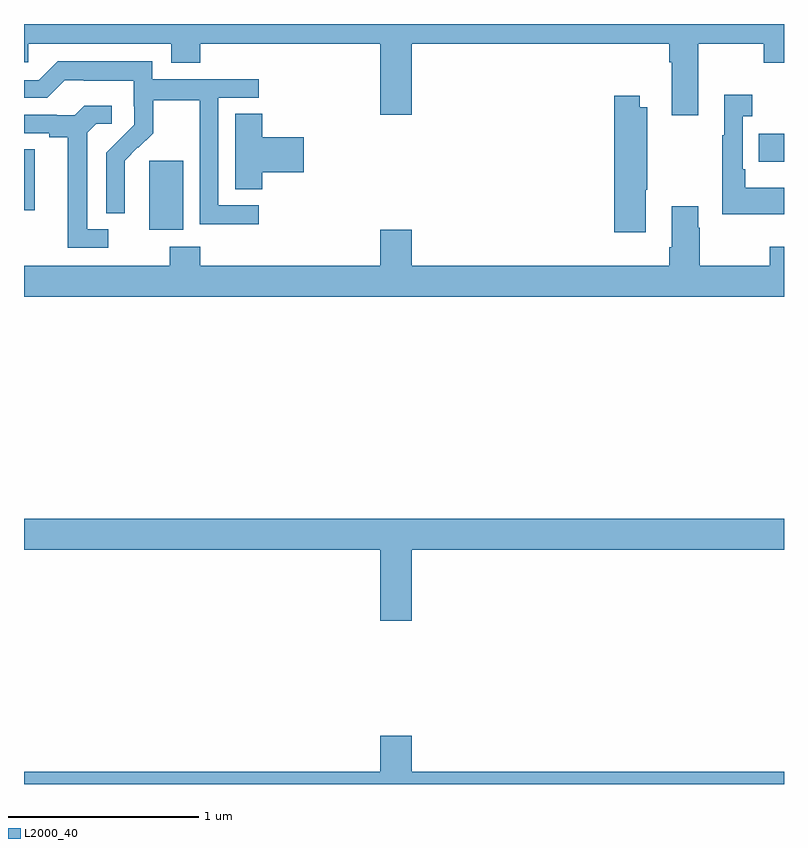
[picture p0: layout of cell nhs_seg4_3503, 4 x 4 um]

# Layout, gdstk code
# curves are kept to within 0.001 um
import gdstk
lib = gdstk.Library(unit=1e-6, precision=1e-09)
def R(c, l, rs):  # rectangles x0, y0, x1, y1
    for r in rs: c.add(gdstk.rectangle(r[:2], r[2:], *l))
def P(c, l, *ps):  # polygons
    for p in ps: c.add(gdstk.Polygon(p, *l))
L2000_40 = (2000, 40)

nhs_seg4_3503 = lib.new_cell('nhs_seg4_3503')
R(nhs_seg4_3503, L2000_40, [(295.658,819.818,295.837,820.179), (295,819.921,295.057,820.241), (298.867,820.175,299,820.323)])
P(nhs_seg4_3503, L2000_40, [(295,820.698),(295.023,820.698),(295.023,820.796),(295.775,820.796),(295.775,820.697),(295.928,820.697),(295.928,820.796),(296.876,820.796),(296.876,820.422),(297.04,820.422),(297.04,820.796),(298.397,820.796),(298.397,820.7),(298.409,820.7),(298.409,820.419),(298.549,820.419),(298.549,820.796),(298.894,820.796),(298.894,820.697),(299,820.697),(299,820.9),(295,820.9)],
  [(296.236,819.945),(296.022,819.945),(296.022,820.512),(296.236,820.512),(296.236,820.608),(295.674,820.608),(295.674,820.705),(295.177,820.705),(295.077,820.605),(295,820.605),(295,820.512),(295.122,820.512),(295.215,820.605),(295.315,820.605),(295.315,820.601),(295.578,820.601),(295.578,820.467),(295.58,820.467),(295.58,820.37),(295.434,820.222),(295.434,819.904),(295.53,819.904),(295.529,820.181),(295.599,820.251),(295.602,820.248),(295.679,820.325),(295.679,820.5),(295.924,820.5),(295.924,820.276),(295.926,820.276),(295.926,819.847),(296.236,819.847)],
  [(299,820.039),(298.795,820.039),(298.795,820.135),(298.782,820.135),(298.782,820.415),(298.834,820.415),(298.834,820.528),(298.685,820.528),(298.685,820.315),(298.674,820.315),(298.674,819.899),(299,819.899)],
  [(298.273,820.027),(298.281,820.027),(298.281,820.462),(298.24,820.462),(298.24,820.522),(298.106,820.522),(298.106,819.804),(298.273,819.804)],
  [(295.444,819.819),(295.333,819.819),(295.333,820.327),(295.38,820.374),(295.462,820.374),(295.462,820.471),(295.318,820.471),(295.266,820.419),(295.172,820.419),(295.172,820.422),(295,820.422),(295,820.326),(295.133,820.326),(295.133,820.304),(295.229,820.304),(295.229,819.723),(295.444,819.723)],
  [(296.255,820.121),(296.473,820.121),(296.473,820.304),(296.255,820.304),(296.255,820.427),(296.111,820.427),(296.111,820.03),(296.255,820.03)],
  [(299,819.727),(298.924,819.727),(298.924,819.628),(298.557,819.628),(298.557,819.827),(298.549,819.827),(298.549,819.94),(298.409,819.94),(298.409,819.724),(298.397,819.724),(298.397,819.628),(297.04,819.628),(297.04,819.817),(296.876,819.817),(296.876,819.628),(295.928,819.628),(295.928,819.727),(295.768,819.727),(295.768,819.628),(295,819.628),(295,819.464),(299,819.464)],
  [(297.04,818.132),(299,818.132),(299,818.296),(295,818.296),(295,818.132),(296.876,818.132),(296.876,817.758),(297.04,817.758)],
  [(299,816.964),(297.04,816.964),(297.04,817.153),(296.876,817.153),(296.876,816.964),(295,816.964),(295,816.9),(299,816.9)])

lib.write_gds('nhs_seg4_3503.gds')
